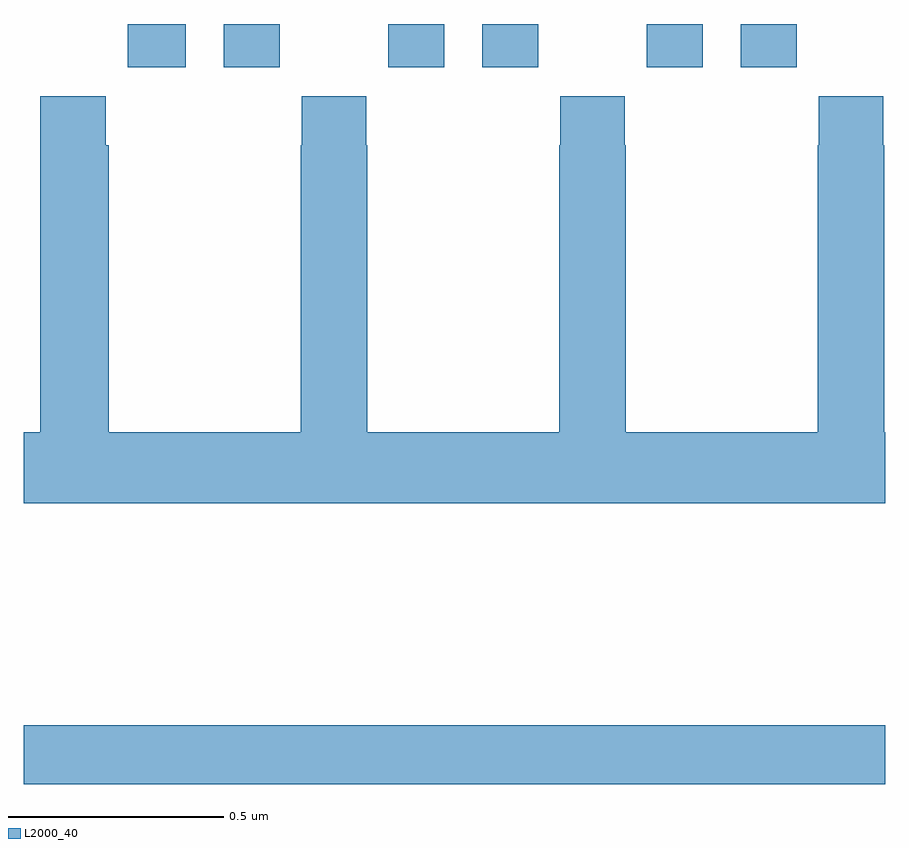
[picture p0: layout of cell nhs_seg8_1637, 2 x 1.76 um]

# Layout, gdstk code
import gdstk
lib = gdstk.Library(unit=1e-6, precision=1e-09)
def R(c, l, rs):  # rectangles x0, y0, x1, y1
    for r in rs: c.add(gdstk.rectangle(r[:2], r[2:], *l))
def P(c, l, *ps):  # polygons
    for p in ps: c.add(gdstk.Polygon(p, *l))
L2000_40 = (2000, 40)

nhs_seg8_1637 = lib.new_cell('nhs_seg8_1637')
R(nhs_seg8_1637, L2000_40, [(132,1161.136,134,1161.272), (132.242,1162.8,132.376,1162.9), (132.464,1162.8,132.594,1162.9), (132.846,1162.8,132.976,1162.9), (133.064,1162.8,133.194,1162.9), (133.446,1162.8,133.576,1162.9), (133.664,1162.8,133.794,1162.9)])
P(nhs_seg8_1637, L2000_40, [(134,1161.952),(133.998,1161.952),(133.998,1162.619),(133.995,1162.619),(133.995,1162.732),(133.845,1162.732),(133.845,1162.619),(133.843,1162.619),(133.843,1161.952),(133.398,1161.952),(133.398,1162.619),(133.395,1162.619),(133.395,1162.732),(133.245,1162.732),(133.245,1162.619),(133.243,1162.619),(133.243,1161.952),(132.798,1161.952),(132.798,1162.619),(132.795,1162.619),(132.795,1162.732),(132.645,1162.732),(132.645,1162.619),(132.643,1162.619),(132.643,1161.952),(132.198,1161.952),(132.198,1162.619),(132.191,1162.619),(132.191,1162.732),(132.038,1162.732),(132.038,1161.952),(132,1161.952),(132,1161.788),(134,1161.788)])

lib.write_gds('nhs_seg8_1637.gds')
